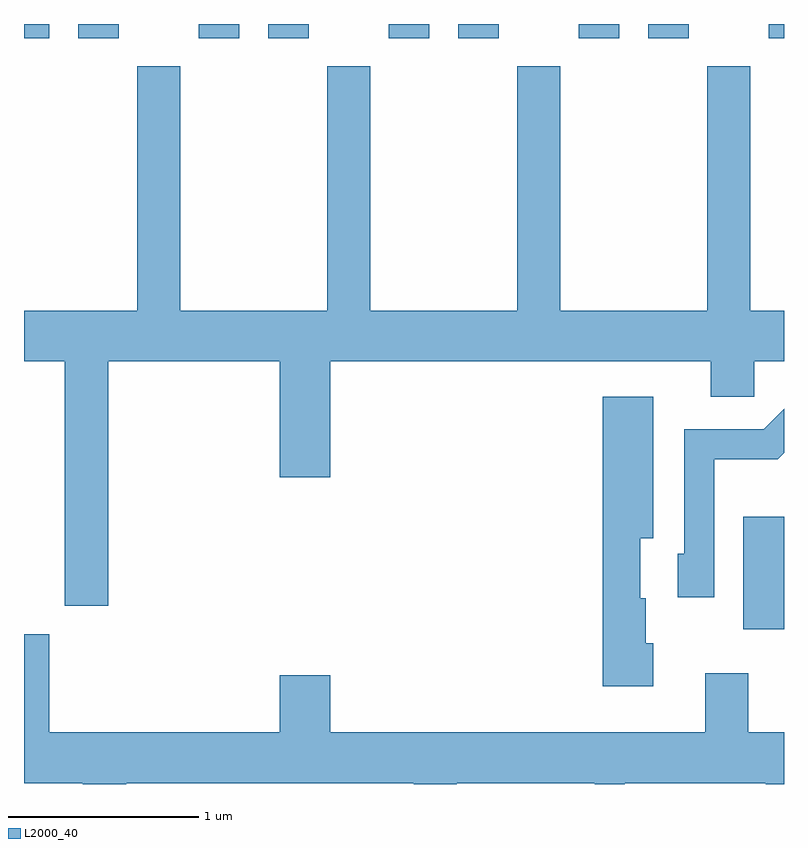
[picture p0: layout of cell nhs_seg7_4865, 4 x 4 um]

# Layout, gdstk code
import gdstk
lib = gdstk.Library(unit=1e-6, precision=1e-09)
def R(c, l, rs):  # rectangles x0, y0, x1, y1
    for r in rs: c.add(gdstk.rectangle(r[:2], r[2:], *l))
def P(c, l, *ps):  # polygons
    for p in ps: c.add(gdstk.Polygon(p, *l))
L2000_40 = (2000, 40)

nhs_seg7_4865 = lib.new_cell('nhs_seg7_4865')
R(nhs_seg7_4865, L2000_40, [(337.396,1775.066,337.611,1775.659), (333.611,1778.176,333.744,1778.252), (333.896,1778.176,334.109,1778.252), (334.531,1778.176,334.744,1778.252), (334.896,1778.176,335.109,1778.252), (335.531,1778.176,335.744,1778.252), (335.896,1778.176,336.109,1778.252), (336.531,1778.176,336.744,1778.252), (336.896,1778.176,337.109,1778.252), (337.531,1778.176,337.611,1778.252)])
P(nhs_seg7_4865, L2000_40, [(335.224,1776.476),(337.226,1776.476),(337.226,1776.291),(337.454,1776.291),(337.454,1776.476),(337.611,1776.476),(337.611,1776.744),(337.434,1776.744),(337.434,1778.029),(337.206,1778.029),(337.206,1776.744),(336.434,1776.744),(336.434,1778.029),(336.206,1778.029),(336.206,1776.744),(335.434,1776.744),(335.434,1778.029),(335.206,1778.029),(335.206,1776.744),(334.434,1776.744),(334.434,1778.029),(334.206,1778.029),(334.206,1776.744),(333.611,1776.744),(333.611,1776.476),(333.826,1776.476),(333.826,1775.191),(334.054,1775.191),(334.054,1776.476),(334.956,1776.476),(334.956,1775.866),(335.224,1775.866)],
  [(336.924,1774.994),(336.884,1774.994),(336.884,1775.229),(336.854,1775.229),(336.854,1775.546),(336.924,1775.546),(336.924,1776.289),(336.656,1776.289),(336.656,1774.766),(336.924,1774.766)],
  [(337.244,1775.961),(337.577,1775.961),(337.611,1775.995),(337.611,1776.226),(337.504,1776.119),(337.086,1776.119),(337.086,1775.464),(337.051,1775.464),(337.051,1775.236),(337.244,1775.236)],
  [(334.149,1774.256),(335.661,1774.256),(335.661,1774.252),(335.889,1774.252),(335.889,1774.256),(336.616,1774.256),(336.616,1774.252),(336.774,1774.252),(336.774,1774.256),(337.516,1774.256),(337.516,1774.252),(337.611,1774.252),(337.611,1774.524),(337.424,1774.524),(337.424,1774.834),(337.196,1774.834),(337.196,1774.524),(335.224,1774.524),(335.224,1774.824),(334.956,1774.824),(334.956,1774.524),(333.744,1774.524),(333.744,1775.039),(333.611,1775.039),(333.611,1774.256),(333.921,1774.256),(333.921,1774.252),(334.149,1774.252)])

lib.write_gds('nhs_seg7_4865.gds')
